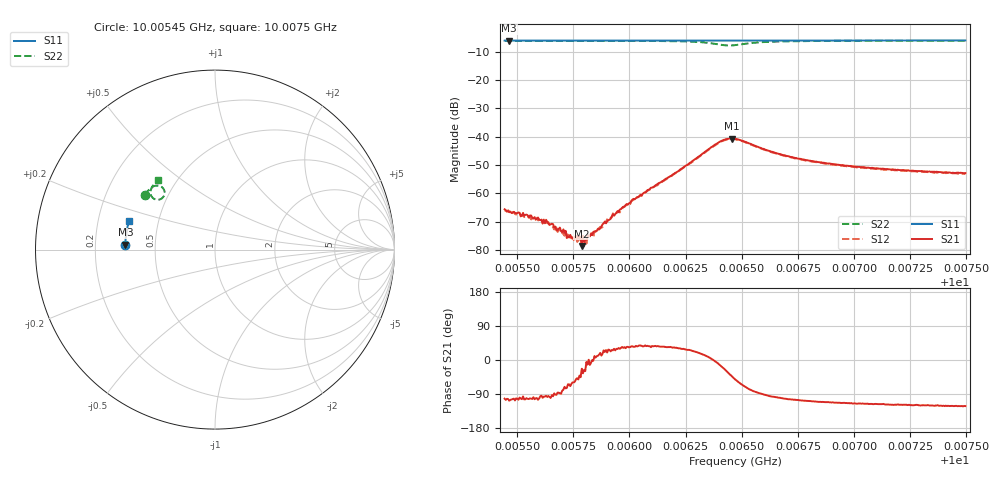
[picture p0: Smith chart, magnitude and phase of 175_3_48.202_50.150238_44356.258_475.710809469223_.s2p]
#  HZ  S  RI  R  50.00
! Rohde & Schwarz Vector Network Analyzer
! Rohde-Schwarz,ZNB20-2Port,1311601062101988,3.16
! Created: UTC 3/20/2024, 11:43:54 AM
! freq[Hz]  re:S11  im:S11  re:S21  im:S21  re:S12  im:S12  re:S22  im:S22
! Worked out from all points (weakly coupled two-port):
!   401 points, 10.00545 GHz to 10.0075 GHz, reference 50 ohm
!   highest |S21| = -40.65 dB at 10.00645 GHz (marker M1); lowest = -78.6 dB at 10.00579 GHz (marker M2)
!   lowest |S11| = -6.0 dB at 10.00547 GHz (marker M3), VSWR 3.00, Z = 16.7 + j1.24 ohm
!   |S11| at or under -10 dB: nowhere
!   |S22| runs from -7.7 to -6.0 dB; largest |S21 - S12| = 0.00054
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1.0005445e10  -0.4998 0.0266  -0.000109 -0.000508  -0.000145 -0.000472  -0.3922 0.3043
1.0005466e10  -0.4996 0.0279  -0.000138 -0.000441  -8.12e-05 -0.00047  -0.3915 0.3055
1.0005573e10  -0.4996 0.0349  -5.12e-05 -0.000352  -2.82e-05 -0.00034  -0.3865 0.3119
1.0005599e10  -0.4994 0.0365  -6.86e-05 -0.000336  -4.31e-05 -0.000335  -0.3853 0.3135
1.0005696e10  -0.4991 0.0429  3.7e-06 -0.000213  3.69e-05 -0.000216  -0.3808 0.3195
1.0005732e10  -0.499 0.0452  7.12e-05 -0.000149  4.95e-05 -0.000162  -0.3788 0.3218
1.0005773e10  -0.4988 0.0479  0.000106 -0.000133  0.000108 -9.77e-05  -0.3767 0.3243
1.0005789e10  -0.4988 0.0489  0.000108 -4.55e-05  0.000111 -6.99e-05  -0.376 0.3253
1.0005799e10  -0.4987 0.0495  0.000124 -6.07e-05  0.000113 -2.33e-05  -0.3753 0.3258
1.0005825e10  -0.4985 0.0513  0.000168 -3.89e-05  0.000179 -1.71e-06  -0.3738 0.3275
1.000585e10  -0.4986 0.0528  0.000213 2.37e-05  0.000201 5.3e-05  -0.3723 0.3292
1.0005937e10  -0.498 0.0586  0.000386 0.000183  0.000382 0.00024  -0.3666 0.335
1.0006019e10  -0.4975 0.0639  0.000655 0.000454  0.000613 0.000474  -0.3605 0.3408
1.0006132e10  -0.4967 0.0711  0.00123 0.000887  0.00116 0.000904  -0.3493 0.3488
1.0006388e10  -0.4939 0.0875  0.00752 -0.000806  0.00734 -0.000471  -0.283 0.3308
1.0006424e10  -0.4934 0.0895  0.0081 -0.00368  0.00805 -0.00323  -0.2824 0.3039
1.0006455e10  -0.4933 0.0912  0.00687 -0.00624  0.00705 -0.00578  -0.2982 0.2838
1.000647e10  -0.4932 0.0922  0.0058 -0.00714  0.00606 -0.00668  -0.3096 0.2789
1.000665e10  -0.492 0.1036  -0.000711 -0.00514  -0.000473 -0.00507  -0.3596 0.3209
1.0006814e10  -0.49 0.1142  -0.00121 -0.0035  -0.00101 -0.00347  -0.3528 0.3449
1.0007157e10  -0.4854 0.1357  -0.00122 -0.00234  -0.00109 -0.00234  -0.3344 0.3711
1.0007495e10  -0.4797 0.157  -0.00119 -0.00194  -0.00105 -0.00192  -0.3169 0.3891
